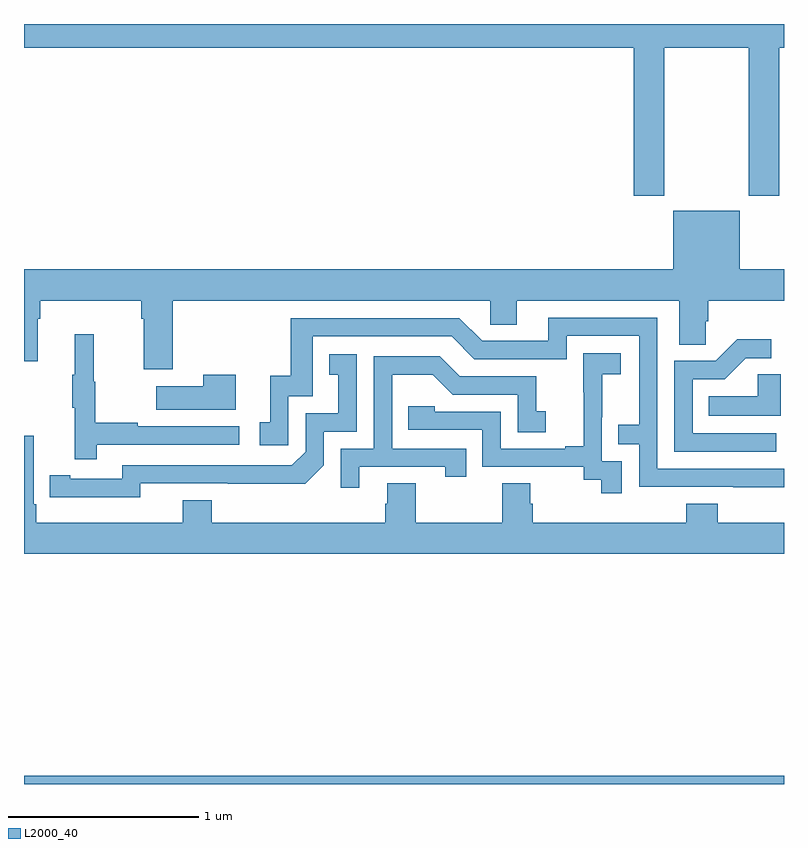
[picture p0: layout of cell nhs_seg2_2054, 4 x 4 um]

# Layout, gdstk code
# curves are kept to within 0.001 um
import gdstk
lib = gdstk.Library(unit=1e-6, precision=1e-09)
def R(c, l, rs):  # rectangles x0, y0, x1, y1
    for r in rs: c.add(gdstk.rectangle(r[:2], r[2:], *l))
def P(c, l, *ps):  # polygons
    for p in ps: c.add(gdstk.Polygon(p, *l))
L2000_40 = (2000, 40)

nhs_seg2_2054 = lib.new_cell('nhs_seg2_2054')
R(nhs_seg2_2054, L2000_40, [(219,603.8,223,603.844)])
P(nhs_seg2_2054, L2000_40, [(222.369,607.676),(222.814,607.676),(222.814,606.897),(222.974,606.897),(222.974,607.676),(223,607.676),(223,607.8),(219,607.8),(219,607.676),(222.209,607.676),(222.209,606.897),(222.369,606.897)],
  [(219.782,606.344),(221.454,606.344),(221.454,606.217),(221.593,606.217),(221.593,606.344),(222.449,606.344),(222.449,606.112),(222.588,606.112),(222.588,606.235),(222.602,606.235),(222.602,606.344),(223,606.344),(223,606.508),(222.766,606.508),(222.766,606.817),(222.416,606.817),(222.416,606.508),(219,606.508),(219,606.024),(219.073,606.024),(219.073,606.248),(219.086,606.248),(219.086,606.344),(219.617,606.344),(219.617,606.248),(219.629,606.248),(219.629,605.982),(219.782,605.982)],
  [(223,605.46),(222.333,605.46),(222.333,606.255),(221.759,606.255),(221.759,606.132),(221.412,606.132),(221.292,606.252),(220.405,606.252),(220.405,605.95),(220.295,605.95),(220.295,605.703),(220.242,605.703),(220.242,605.583),(220.392,605.583),(220.392,605.841),(220.521,605.841),(220.521,606.156),(221.25,606.156),(221.37,606.036),(221.856,606.036),(221.856,606.159),(222.237,606.159),(222.237,605.69),(222.127,605.69),(222.127,605.589),(222.237,605.589),(222.237,605.364),(223,605.363)],
  [(219.383,605.586),(220.132,605.586),(220.132,605.682),(219.599,605.682),(219.599,605.702),(219.376,605.702),(219.376,605.916),(219.368,605.916),(219.368,606.166),(219.266,606.166),(219.266,605.953),(219.255,605.953),(219.255,605.779),(219.266,605.779),(219.266,605.508),(219.383,605.508)],
  [(222.958,605.646),(222.519,605.646),(222.519,605.931),(222.688,605.931),(222.799,606.042),(222.934,606.042),(222.934,606.14),(222.755,606.14),(222.642,606.027),(222.423,606.027),(222.423,605.55),(222.958,605.55)],
  [(222.147,605.499),(222.042,605.499),(222.042,605.729),(222.044,605.729),(222.044,605.957),(222.142,605.957),(222.142,606.067),(221.944,606.067),(221.944,605.861),(221.945,605.861),(221.945,605.578),(221.849,605.578),(221.849,605.565),(221.508,605.565),(221.508,605.76),(221.163,605.76),(221.163,605.787),(221.023,605.787),(221.023,605.664),(221.412,605.664),(221.412,605.469),(221.946,605.469),(221.946,605.401),(222.039,605.401),(222.039,605.331),(222.147,605.331)],
  [(219.612,605.382),(220.48,605.381),(220.578,605.478),(220.578,605.655),(220.752,605.655),(220.752,606.061),(220.606,606.061),(220.606,605.955),(220.655,605.955),(220.655,605.751),(220.482,605.751),(220.482,605.55),(220.41,605.478),(219.516,605.478),(219.516,605.406),(219.244,605.406),(219.244,605.426),(219.136,605.426),(219.136,605.31),(219.612,605.309)],
  [(220.765,605.469),(221.216,605.469),(221.216,605.418),(221.327,605.418),(221.327,605.565),(220.938,605.565),(220.938,605.954),(221.152,605.954),(221.256,605.85),(221.598,605.85),(221.598,605.652),(221.746,605.652),(221.746,605.761),(221.697,605.761),(221.697,605.946),(221.293,605.946),(221.188,606.051),(220.842,606.051),(220.842,605.565),(220.668,605.565),(220.668,605.358),(220.765,605.358)],
  [(222.982,605.957),(222.861,605.957),(222.861,605.842),(222.604,605.842),(222.604,605.738),(222.982,605.738)],
  [(220.114,605.953),(219.944,605.953),(219.944,605.893),(219.695,605.893),(219.695,605.771),(220.114,605.771)],
  [(223,605.176),(222.65,605.176),(222.65,605.275),(222.485,605.275),(222.485,605.176),(221.678,605.176),(221.678,605.274),(221.665,605.274),(221.665,605.384),(221.518,605.384),(221.518,605.176),(221.061,605.176),(221.061,605.384),(220.913,605.384),(220.913,605.274),(220.901,605.274),(220.901,605.176),(219.989,605.176),(219.989,605.293),(219.836,605.293),(219.836,605.176),(219.065,605.176),(219.065,605.272),(219.051,605.272),(219.051,605.632),(219,605.632),(219,605.012),(223,605.012)])

lib.write_gds('nhs_seg2_2054.gds')
